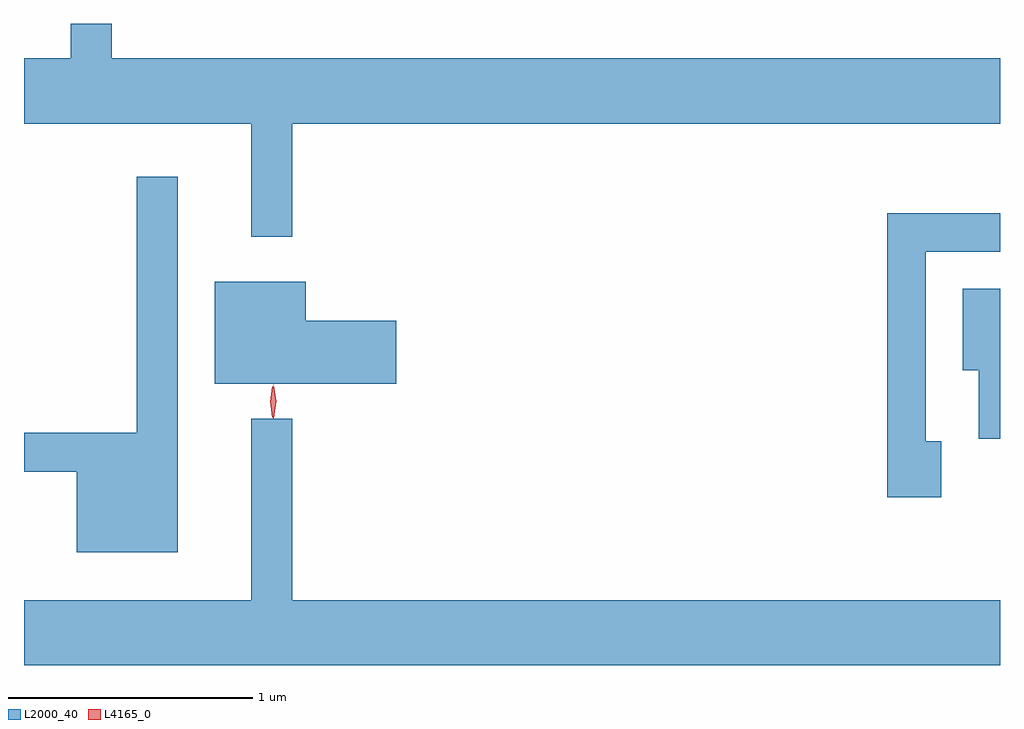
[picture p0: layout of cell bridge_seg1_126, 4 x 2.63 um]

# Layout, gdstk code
import gdstk
lib = gdstk.Library(unit=1e-6, precision=1e-09)
def P(c, l, *ps):  # polygons
    for p in ps: c.add(gdstk.Polygon(p, *l))
L2000_40 = (2000, 40)
L4165_0 = (4165, 0)

bridge_seg1_126 = lib.new_cell('bridge_seg1_126')
P(bridge_seg1_126, L2000_40, [(1289.549,881.816),(1292.449,881.816),(1292.449,882.084),(1288.809,882.084),(1288.809,882.227),(1288.641,882.227),(1288.641,882.084),(1288.449,882.084),(1288.449,881.816),(1289.381,881.816),(1289.381,881.353),(1289.549,881.353)],
  [(1289.079,881.598),(1288.911,881.598),(1288.911,880.549),(1288.449,880.549),(1288.449,880.391),(1288.666,880.391),(1288.666,880.061),(1289.079,880.061)],
  [(1292.209,880.514),(1292.144,880.514),(1292.144,881.291),(1292.449,881.291),(1292.449,881.449),(1291.986,881.449),(1291.986,880.286),(1292.209,880.286)],
  [(1289.974,881.009),(1289.604,881.009),(1289.604,881.169),(1289.231,881.169),(1289.231,880.751),(1289.974,880.751)],
  [(1292.449,881.139),(1292.296,881.139),(1292.296,880.806),(1292.361,880.806),(1292.361,880.526),(1292.449,880.526)],
  [(1292.449,879.864),(1289.549,879.864),(1289.549,880.608),(1289.381,880.608),(1289.381,879.864),(1288.449,879.864),(1288.449,879.596),(1292.449,879.596)])
P(bridge_seg1_126, L4165_0, [(1289.47,880.61),(1289.462,880.678),(1289.472,880.745),(1289.473,880.746),(1289.473,880.745),(1289.482,880.678),(1289.472,880.61),(1289.471,880.61)],
  [(1289.468,880.613),(1289.467,880.614),(1289.458,880.676),(1289.467,880.739),(1289.468,880.74),(1289.468,880.739),(1289.478,880.676),(1289.468,880.614)])

lib.write_gds('bridge_seg1_126.gds')
